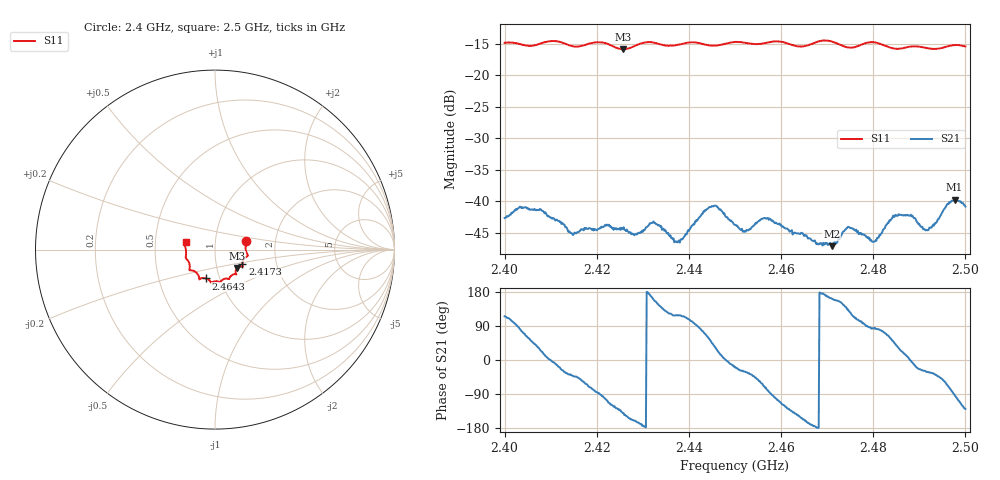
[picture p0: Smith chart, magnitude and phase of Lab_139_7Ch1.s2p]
# Hz S RI R 50
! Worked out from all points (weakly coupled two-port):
!   601 points, 2.4 GHz to 2.5 GHz, reference 50 ohm
!   highest |S21| = -39.75 dB at 2.4977 GHz (marker M1); lowest = -47.1 dB at 2.471 GHz (marker M2)
!   lowest |S11| = -15.9 dB at 2.4257 GHz (marker M3), VSWR 1.38, Z = 62.5 - j13.1 ohm
!   |S11| at or under -10 dB: start of sweep to end of sweep
!   S12 and S22 are empty: the file has one direction only
!   S11 on the Smith chart (normalised r, x): 2.4 GHz: 1.41, +0.14; 2.4173 GHz: 1.34, -0.23; 2.4643 GHz: 0.86, -0.29; 2.5 GHz: 0.72, +0.06
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2.4e9  0.1734 0.0497  -0.00315 0.00666  0 0  0 0
2.4075e9  0.1756 -0.0161  0.00732 0.00431  0 0  0 0
2.414333e9  0.1636 -0.0494  0.0044 -0.00345  0 0  0 0
2.416667e9  0.1529 -0.0747  0.00356 -0.00485  0 0  0 0
2.417333e9  0.1523 -0.082  0.00307 -0.00532  0 0  0 0
2.425667e9  0.1229 -0.1025  -0.00459 -0.00388  0 0  0 0
2.433333e9  0.1125 -0.1368  -0.00539 0.00348  0 0  0 0
2.437667e9  0.0842 -0.1523  -0.00221 0.00427  0 0  0 0
2.4455e9  0.0516 -0.1633  0.00739 0.00554  0 0  0 0
2.45e9  0.0293 -0.1809  0.00614 -0.00216  0 0  0 0
2.452167e9  0.0218 -0.1791  0.00498 -0.00296  0 0  0 0
2.456667e9  -0.0113 -0.1796  0.00216 -0.00698  0 0  0 0
2.464333e9  -0.05 -0.1609  -0.00498 -0.00258  0 0  0 0
2.466667e9  -0.076 -0.1597  -0.00484 -0.000788  0 0  0 0
2.471e9  -0.0871 -0.163  -0.00418 0.00138  0 0  0 0
2.474667e9  -0.1032 -0.1293  -0.00399 0.00482  0 0  0 0
2.480167e9  -0.1428 -0.113  0.000622 0.00475  0 0  0 0
2.483333e9  -0.1405 -0.0899  0.00303 0.00603  0 0  0 0
2.488e9  -0.1603 -0.0511  0.0077 -7.99e-05  0 0  0 0
2.491833e9  -0.1613 -0.0268  0.00503 -0.00304  0 0  0 0
2.497667e9  -0.1704 0.0302  -0.000528 -0.0103  0 0  0 0
2.5e9  -0.1634 0.042  -0.00571 -0.00705  0 0  0 0
